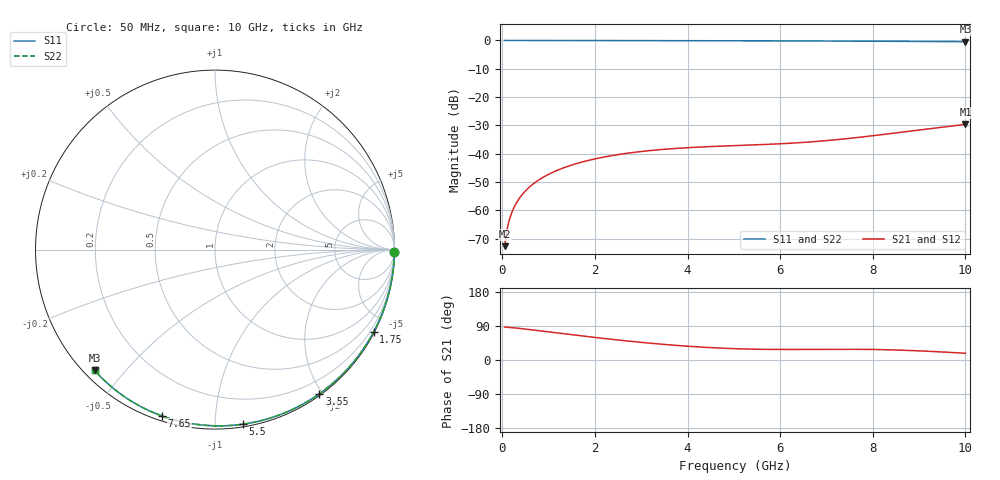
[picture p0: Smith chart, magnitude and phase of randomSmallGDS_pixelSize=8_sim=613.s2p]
! freq	dB(S11)	phase(S11)	dB(S12)	phase(S12)
!  dB(S21)	phase(S21)	dB(S22)	phase(S22)
!S-par simulation data
#  GHz  S  DB  R 50
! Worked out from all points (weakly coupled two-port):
!   200 points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, 50 MHz to 10 GHz, reference 50 ohm
!   highest |S21| = -29.65 dB at 10 GHz (marker M1); lowest = -72.7 dB at 50 MHz (marker M2)
!   lowest |S11| = -0.4 dB at 10 GHz (marker M3), VSWR 38.90, Z = 1.51 - j20.8 ohm
!   |S11| at or under -10 dB: nowhere
!   |S22| runs from -0.4 to 0.0 dB; largest |S21 - S12| = 0
!   S11 on the Smith chart (normalised r, x): 50 MHz: open; 1.75 GHz: 0.04, -4.11; 3.55 GHz: 0.02, -1.96; 5.5 GHz: 0.02, -1.17; 7.65 GHz: 0.02, -0.73; 10 GHz: 0.03, -0.42
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0.05  -0.00 -0.8  -72.69 87.0  -72.69 87.0  -0.00 -0.8
0.1  -0.00 -1.6  -66.90 86.3  -66.90 86.3  -0.00 -1.6
0.15  -0.00 -2.4  -63.48 86.0  -63.48 86.0  -0.00 -2.4
0.2  -0.00 -3.2  -61.03 85.5  -61.03 85.5  -0.00 -3.2
0.25  -0.00 -4.0  -59.12 84.9  -59.12 84.9  -0.00 -4.0
0.35  -0.00 -5.6  -56.23 83.7  -56.23 83.7  -0.00 -5.6
0.5  -0.01 -7.9  -53.17 81.6  -53.17 81.6  -0.01 -7.9
0.7  -0.01 -11.1  -50.29 78.6  -50.29 78.6  -0.01 -11.1
1  -0.02 -15.8  -47.30 74.1  -47.30 74.1  -0.02 -15.8
1.35  -0.03 -21.2  -44.85 68.9  -44.85 68.9  -0.03 -21.2
1.75  -0.03 -27.4  -42.83 63.0  -42.83 63.0  -0.03 -27.4
2.5  -0.05 -38.7  -40.33 52.8  -40.33 52.8  -0.05 -38.7
3.4  -0.07 -52.0  -38.59 42.1  -38.59 42.1  -0.07 -52.0
3.55  -0.07 -54.1  -38.39 40.5  -38.39 40.5  -0.07 -54.1
4.3  -0.09 -64.7  -37.64 34.0  -37.64 34.0  -0.09 -64.7
5.05  -0.11 -74.9  -37.14 29.8  -37.14 29.8  -0.11 -74.9
5.5  -0.13 -80.9  -36.87 28.4  -36.87 28.4  -0.13 -80.9
6.7  -0.18 -96.2  -35.80 28.1  -35.80 28.1  -0.18 -96.2
7.65  -0.24 -107.7  -34.33 28.3  -34.33 28.3  -0.24 -107.7
8.35  -0.29 -116.0  -32.97 26.9  -32.97 26.9  -0.29 -116.0
9.2  -0.36 -125.8  -31.24 23.0  -31.24 23.0  -0.36 -125.8
10  -0.45 -134.9  -29.65 17.8  -29.65 17.8  -0.45 -134.9
